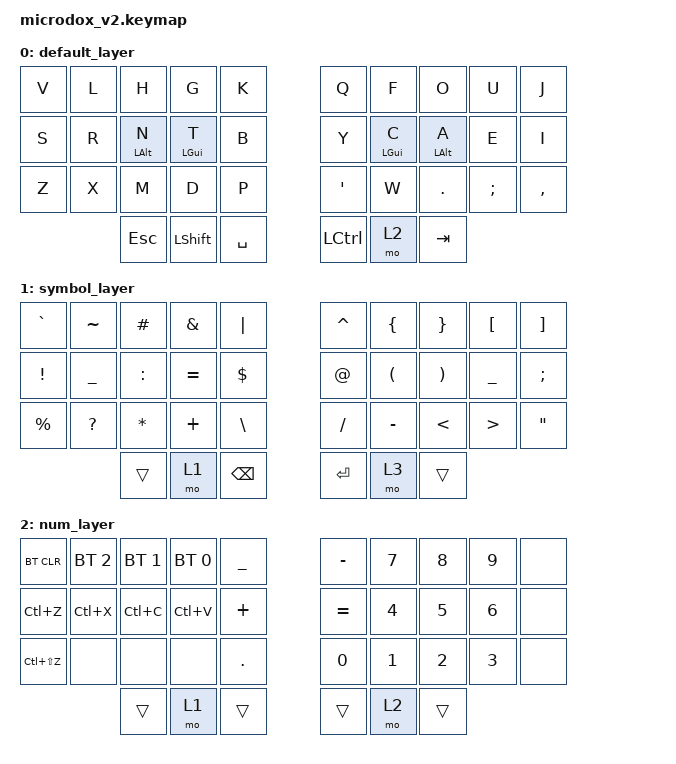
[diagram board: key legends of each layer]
/*
 * Copyright (c) 2020 The ZMK Contributors
 *
 * SPDX-License-Identifier: MIT
 */

#include <behaviors.dtsi>
#include <dt-bindings/zmk/keys.h>
#include <dt-bindings/zmk/bt.h>

/ {
        keymap {
                compatible = "zmk,keymap";

                default_layer {
                        bindings = <
   &kp V  &kp L  &kp H       &kp G       &kp K      &kp Q      &kp F       &kp O       &kp U     &kp J
   &kp S  &kp R  &mt LALT N  &mt LGUI T  &kp B      &kp Y      &mt LGUI C  &mt LALT A  &kp E     &kp I
   &kp Z  &kp X  &kp M       &kp D       &kp P      &kp SQT    &kp W       &kp DOT     &kp SEMI  &kp COMMA
                 &kp ESC     &kp LSHFT   &kp SPACE  &kp LCTRL  &mo 2       &kp TAB
                        >;
                };

                symbol_layer {
                        bindings = <
   &kp GRAVE  &kp TILDE  &kp HASH   &kp AMPS   &kp PIPE  &kp CARET  &kp LBRC   &kp RBRC  &kp LBKT   &kp RBKT
   &kp EXCL   &kp UNDER  &kp COLON  &kp EQUAL  &kp DLLR  &kp AT     &kp LPAR   &kp RPAR  &kp UNDER  &kp SEMI
   &kp PRCNT  &kp QMARK  &kp STAR   &kp PLUS   &kp BSLH  &kp FSLH   &kp MINUS  &kp LT    &kp GT     &kp DQT
                         &trans     &mo 1      &kp BSPC  &kp RET    &mo 3      &trans
                        >;
                };

                num_layer {
                        bindings = <
   &bt BT_CLR     &bt BT_SEL 2  &bt BT_SEL 1  &bt BT_SEL 0  &kp UNDER  &kp MINUS  &kp N7  &kp N8  &kp N9  &none
   &kp LC(Z)      &kp LC(X)     &kp LC(C)     &kp LC(V)     &kp PLUS   &kp EQUAL  &kp N4  &kp N5  &kp N6  &none
   &kp LC(LS(Z))  &none         &none         &none         &kp DOT    &kp N0     &kp N1  &kp N2  &kp N3  &none
                                &trans        &mo 1         &trans     &trans     &mo 2   &trans
                        >;
                };
        };
};
